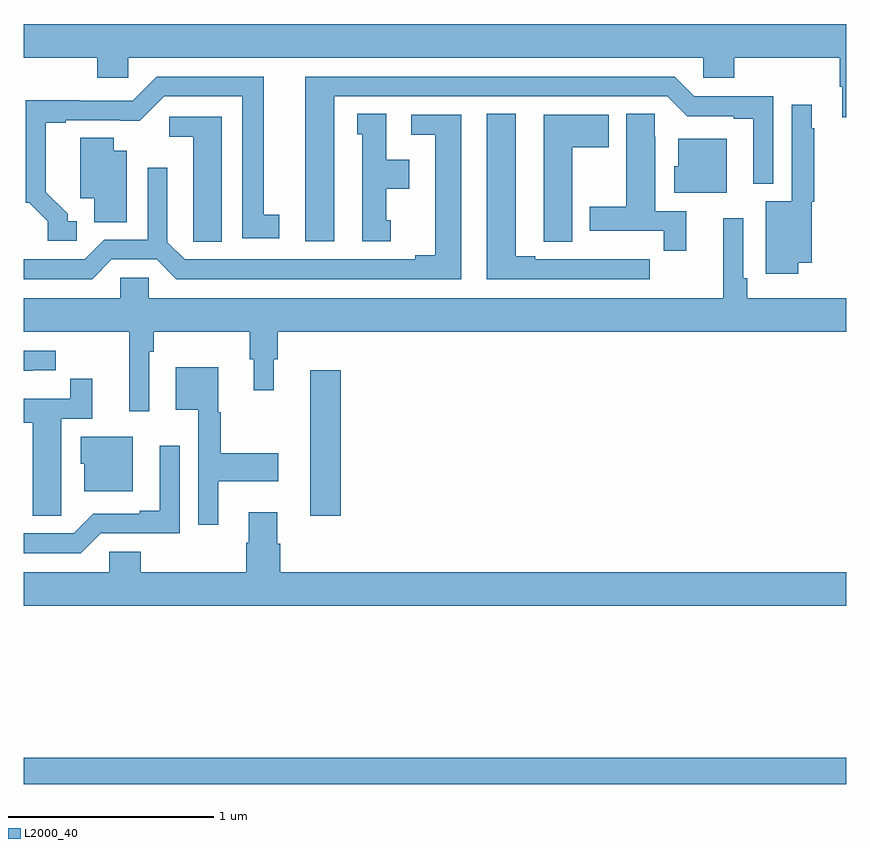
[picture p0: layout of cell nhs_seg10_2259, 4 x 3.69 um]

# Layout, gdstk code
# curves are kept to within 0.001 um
import gdstk
lib = gdstk.Library(unit=1e-6, precision=1e-09)
def R(c, l, rs):  # rectangles x0, y0, x1, y1
    for r in rs: c.add(gdstk.rectangle(r[:2], r[2:], *l))
def P(c, l, *ps):  # polygons
    for p in ps: c.add(gdstk.Polygon(p, *l))
L2000_40 = (2000, 40)

nhs_seg10_2259 = lib.new_cell('nhs_seg10_2259')
R(nhs_seg10_2259, L2000_40, [(231,1304.778,235,1304.906), (232.394,1306.083,232.541,1306.789)])
P(nhs_seg10_2259, L2000_40, [(231,1308.308),(231.359,1308.308),(231.359,1308.21),(231.51,1308.21),(231.51,1308.308),(234.303,1308.308),(234.303,1308.21),(234.455,1308.21),(234.455,1308.308),(234.968,1308.308),(234.968,1308.166),(234.98,1308.166),(234.98,1308.018),(235,1308.018),(235,1308.472),(231,1308.472)],
  [(232.51,1308.12),(234.129,1308.12),(234.225,1308.024),(234.452,1308.024),(234.452,1308.012),(234.548,1308.012),(234.548,1307.696),(234.645,1307.696),(234.645,1308.12),(234.261,1308.12),(234.165,1308.216),(232.37,1308.216),(232.37,1307.415),(232.51,1307.415)],
  [(231.259,1307.514),(231.214,1307.514),(231.214,1307.549),(231.109,1307.654),(231.109,1307.991),(231.205,1307.991),(231.205,1308.003),(231.566,1308.002),(231.684,1308.12),(232.064,1308.12),(232.064,1307.43),(232.243,1307.43),(232.243,1307.546),(232.168,1307.546),(232.168,1308.216),(231.648,1308.216),(231.531,1308.099),(231.275,1308.099),(231.275,1308.101),(231.012,1308.101),(231.012,1307.604),(231.027,1307.604),(231.117,1307.514),(231.117,1307.418),(231.259,1307.418)],
  [(234.766,1307.312),(234.832,1307.312),(234.832,1307.607),(234.844,1307.607),(234.844,1307.966),(234.832,1307.966),(234.832,1308.079),(234.735,1308.079),(234.735,1307.611),(234.608,1307.611),(234.608,1307.259),(234.766,1307.259)],
  [(234.221,1307.562),(234.07,1307.562),(234.07,1307.924),(234.069,1307.924),(234.069,1308.035),(233.93,1308.035),(233.93,1307.583),(233.753,1307.583),(233.753,1307.466),(234.112,1307.466),(234.112,1307.37),(234.221,1307.37)],
  [(232.786,1307.517),(232.762,1307.517),(232.762,1307.672),(232.876,1307.672),(232.876,1307.812),(232.762,1307.812),(232.762,1308.035),(232.622,1308.035),(232.622,1307.937),(232.646,1307.937),(232.646,1307.415),(232.786,1307.415)],
  [(234.043,1307.328),(233.93,1307.328),(233.93,1307.329),(233.764,1307.329),(233.764,1307.328),(233.488,1307.328),(233.488,1307.343),(233.392,1307.343),(233.392,1308.035),(233.252,1308.035),(233.252,1307.232),(234.043,1307.232)],
  [(233.668,1307.872),(233.845,1307.872),(233.845,1308.031),(233.528,1308.031),(233.528,1307.521),(233.529,1307.521),(233.529,1307.413),(233.668,1307.413)],
  [(231.429,1307.328),(231.647,1307.328),(231.743,1307.232),(233.128,1307.232),(233.128,1308.03),(232.884,1308.03),(232.884,1307.934),(233,1307.934),(233,1307.348),(232.904,1307.348),(232.904,1307.328),(231.783,1307.328),(231.699,1307.412),(231.699,1307.773),(231.603,1307.773),(231.603,1307.424),(231.393,1307.424),(231.297,1307.328),(231,1307.328),(231,1307.232),(231.333,1307.232)],
  [(231.964,1308.021),(231.708,1308.021),(231.708,1307.924),(231.824,1307.924),(231.824,1307.521),(231.825,1307.521),(231.825,1307.413),(231.964,1307.413)],
  [(231.502,1307.857),(231.439,1307.857),(231.439,1307.918),(231.275,1307.918),(231.275,1307.624),(231.344,1307.624),(231.344,1307.509),(231.502,1307.509)],
  [(234.418,1307.914),(234.182,1307.914),(234.182,1307.781),(234.164,1307.781),(234.164,1307.651),(234.418,1307.651)],
  [(231.612,1306.88),(231.632,1306.88),(231.632,1306.976),(232.099,1306.976),(232.099,1306.842),(232.118,1306.842),(232.118,1306.692),(232.216,1306.692),(232.216,1306.842),(232.235,1306.842),(232.235,1306.976),(235,1306.976),(235,1307.14),(234.518,1307.14),(234.518,1307.236),(234.498,1307.236),(234.498,1307.527),(234.401,1307.527),(234.401,1307.14),(231.609,1307.14),(231.609,1307.238),(231.471,1307.238),(231.471,1307.14),(231,1307.14),(231,1306.976),(231.515,1306.976),(231.515,1306.59),(231.612,1306.59)],
  [(231.044,1306.788),(231.157,1306.788),(231.157,1306.884),(231,1306.884),(231,1306.787),(231.044,1306.787)],
  [(231.946,1306.25),(232.237,1306.25),(232.237,1306.385),(231.958,1306.385),(231.958,1306.584),(231.946,1306.584),(231.946,1306.804),(231.74,1306.804),(231.74,1306.598),(231.849,1306.598),(231.849,1306.038),(231.946,1306.038)],
  [(231.183,1306.192),(231.184,1306.192),(231.184,1306.554),(231.335,1306.554),(231.335,1306.747),(231.226,1306.747),(231.226,1306.65),(231,1306.65),(231,1306.534),(231.044,1306.534),(231.044,1306.081),(231.183,1306.081)],
  [(231.532,1306.465),(231.278,1306.465),(231.278,1306.335),(231.296,1306.335),(231.296,1306.202),(231.532,1306.202)],
  [(231.375,1305.996),(231.759,1305.996),(231.759,1306.423),(231.662,1306.423),(231.662,1306.105),(231.566,1306.105),(231.566,1306.092),(231.339,1306.092),(231.243,1305.996),(231,1305.996),(231,1305.9),(231.279,1305.9)],
  [(235,1305.808),(232.247,1305.808),(232.247,1305.945),(232.234,1305.945),(232.234,1306.099),(232.094,1306.099),(232.094,1305.95),(232.082,1305.95),(232.082,1305.808),(231.569,1305.808),(231.569,1305.906),(231.417,1305.906),(231.417,1305.808),(231,1305.808),(231,1305.644),(235,1305.644)])

lib.write_gds('nhs_seg10_2259.gds')
